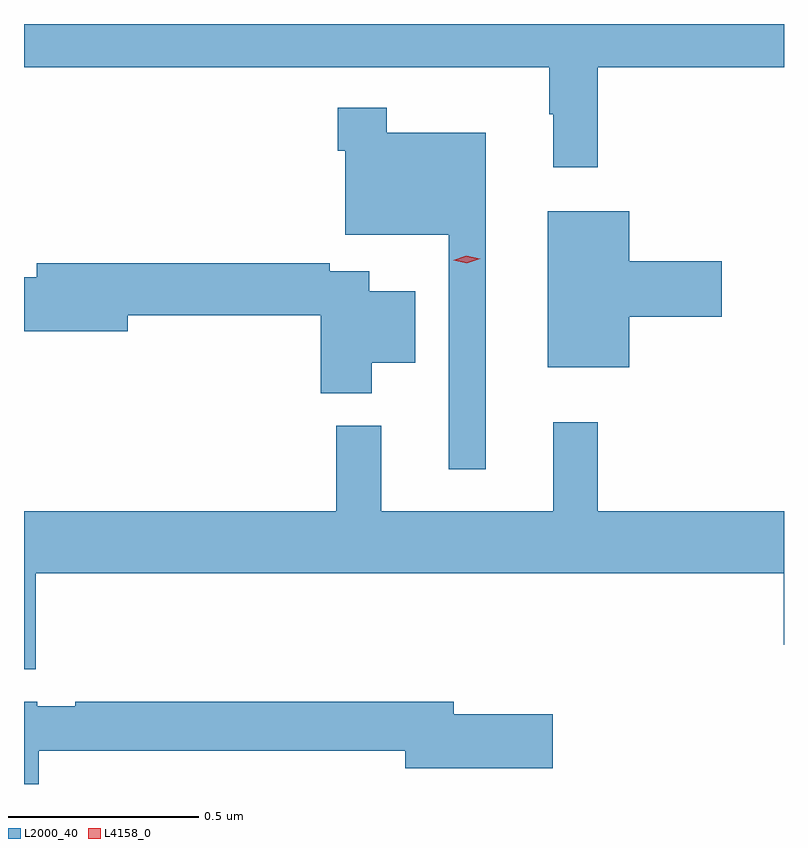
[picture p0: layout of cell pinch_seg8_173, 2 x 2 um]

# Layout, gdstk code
import gdstk
lib = gdstk.Library(unit=1e-6, precision=1e-09)
def P(c, l, *ps):  # polygons
    for p in ps: c.add(gdstk.Polygon(p, *l))
L2000_40 = (2000, 40)
L4158_0 = (4158, 0)

pinch_seg8_173 = lib.new_cell('pinch_seg8_173')
P(pinch_seg8_173, L2000_40, [(691.991,1124.492),(692.481,1124.492),(692.481,1124.606),(690.481,1124.606),(690.481,1124.492),(691.863,1124.492),(691.863,1124.369),(691.874,1124.369),(691.874,1124.229),(691.991,1124.229)],
  [(691.696,1124.32),(691.435,1124.32),(691.435,1124.386),(691.306,1124.386),(691.306,1124.273),(691.326,1124.273),(691.326,1124.051),(691.599,1124.051),(691.599,1123.434),(691.696,1123.434)],
  [(692.074,1123.835),(692.317,1123.835),(692.317,1123.982),(692.074,1123.982),(692.074,1124.113),(691.859,1124.113),(691.859,1123.703),(692.074,1123.703)],
  [(691.396,1123.715),(691.51,1123.715),(691.51,1123.903),(691.39,1123.903),(691.39,1123.956),(691.286,1123.956),(691.286,1123.976),(690.515,1123.976),(690.515,1123.94),(690.481,1123.94),(690.481,1123.798),(690.754,1123.798),(690.754,1123.84),(691.262,1123.84),(691.262,1123.634),(691.396,1123.634)],
  [(690.512,1123.16),(692.48,1123.16),(692.48,1122.972),(692.481,1122.972),(692.481,1123.324),(691.991,1123.324),(691.991,1123.558),(691.874,1123.558),(691.874,1123.324),(691.421,1123.324),(691.421,1123.549),(691.303,1123.549),(691.303,1123.324),(690.481,1123.324),(690.481,1122.908),(690.512,1122.908)],
  [(690.52,1122.694),(691.484,1122.694),(691.484,1122.647),(691.873,1122.647),(691.873,1122.789),(691.612,1122.789),(691.612,1122.823),(690.616,1122.823),(690.616,1122.81),(690.516,1122.81),(690.516,1122.823),(690.481,1122.823),(690.481,1122.606),(690.52,1122.606)])
P(pinch_seg8_173, L4158_0, [(691.646,1123.976),(691.61,1123.984),(691.609,1123.984),(691.61,1123.984),(691.645,1123.996),(691.681,1123.988),(691.681,1123.988),(691.681,1123.988)])

lib.write_gds('pinch_seg8_173.gds')
